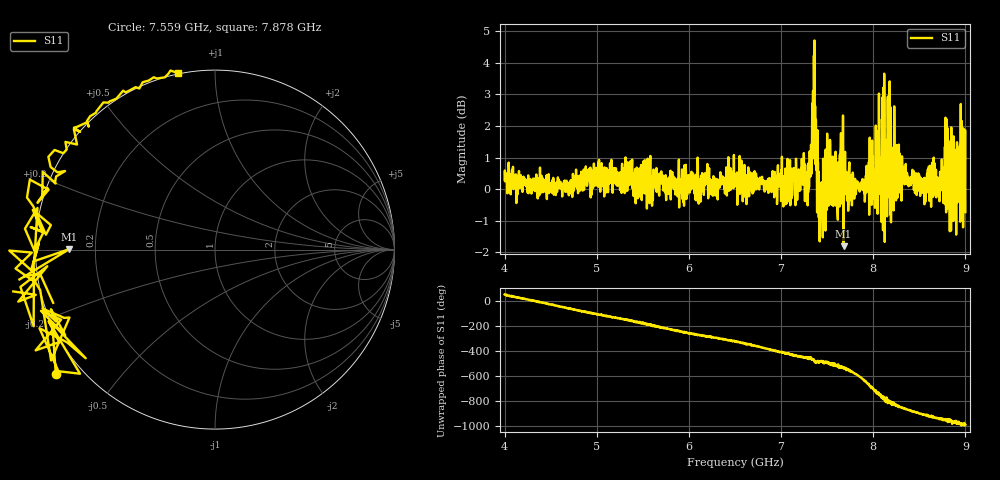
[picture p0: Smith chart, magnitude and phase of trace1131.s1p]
! Created with skrf 1.8.0 (http://scikit-rf.org).
# Hz S RI R 50.0
!freq ReS11 ImS11
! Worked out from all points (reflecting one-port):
!   1601 points, 4 GHz to 9 GHz, reference 50 ohm
!   lowest |S11| = -1.8 dB at 7.678 GHz (marker M1), VSWR 9.68, Z = 5.17 + j0.0673 ohm
!   phase of S11 starts at 54 deg and turns -1044 deg over the sweep
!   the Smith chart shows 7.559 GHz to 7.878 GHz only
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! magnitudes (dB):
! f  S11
! 4 GHz  0.3
! 4.625 GHz  -0.2
! 5.25 GHz  0.2
! 5.875 GHz  0.0
! 6.5 GHz  0.4
! 7.125 GHz  0.5
! 7.281 GHz  0.5
! 7.309 GHz  1.2
! 7.353 GHz  1.6
! 7.381 GHz  0.6
! 7.4 GHz  0.9
! 7.428 GHz  -0.5
! 7.509 GHz  0.0
! 7.591 GHz  1.2
! 7.65 GHz  1.8
! 7.678 GHz  -1.8
! 7.75 GHz  0.0
! 7.997 GHz  0.3
! 8.012 GHz  -0.1
! 8.066 GHz  -0.1
! 8.162 GHz  1.9
! 8.209 GHz  1.3
! 8.375 GHz  0.4
! 8.556 GHz  -0.5
! 8.8 GHz  0.0
! 8.856 GHz  -0.8
! 8.959 GHz  2.2
! 9 GHz  -0.7
